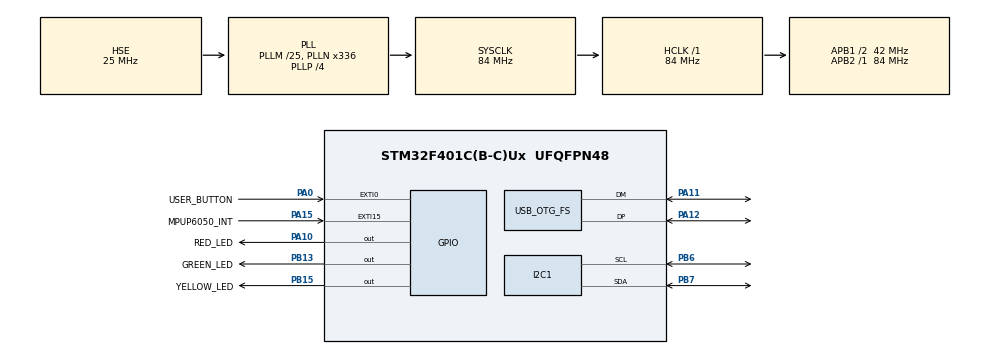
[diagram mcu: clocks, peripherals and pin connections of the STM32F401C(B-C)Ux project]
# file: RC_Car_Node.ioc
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I2C1.I2C_Mode=I2C_Fast
Mcu.Family=STM32F4
Mcu.Name=STM32F401C(B-C)Ux
Mcu.Package=UFQFPN48
NVIC.EXTI0_IRQn=true\:1\:0\:true\:false\:true\:true\:true\:true
NVIC.EXTI15_10_IRQn=true\:0\:0\:true\:false\:true\:true\:true\:true
NVIC.OTG_FS_IRQn=true\:0\:0\:true\:false\:true\:false\:true\:true
NVIC.PriorityGroup=NVIC_PRIORITYGROUP_4
PA0-WKUP.GPIO_Label=USER_BUTTON
PA0-WKUP.GPIO_PuPd=GPIO_PULLUP
PA0-WKUP.Signal=GPXTI0
PA10.GPIO_Label=RED_LED
PA10.Signal=GPIO_Output
PA11.Mode=Device_Only
PA11.Signal=USB_OTG_FS_DM
PA12.Mode=Device_Only
PA12.Signal=USB_OTG_FS_DP
PA13.Mode=Trace_Asynchronous_SW
PA13.Signal=SYS_JTMS-SWDIO
PA14.Mode=Trace_Asynchronous_SW
PA14.Signal=SYS_JTCK-SWCLK
PA15.GPIO_Label=MPUP6050_INT
PA15.Signal=GPXTI15
PB13.GPIO_Label=GREEN_LED
PB13.Signal=GPIO_Output
PB15.GPIO_Label=YELLOW_LED
PB15.PinState=GPIO_PIN_SET
PB15.Signal=GPIO_Output
PB3.Mode=Trace_Asynchronous_SW
PB3.Signal=SYS_JTDO-SWO
PB6.Mode=I2C
PB6.Signal=I2C1_SCL
PB7.Mode=I2C
PB7.Signal=I2C1_SDA
PH0\ -\ OSC_IN.Mode=HSE-External-Oscillator
PH0\ -\ OSC_IN.Signal=RCC_OSC_IN
PH1\ -\ OSC_OUT.Mode=HSE-External-Oscillator
PH1\ -\ OSC_OUT.Signal=RCC_OSC_OUT
ProjectManager.HeapSize=0x200
ProjectManager.StackSize=0x400
ProjectManager.TargetToolchain=STM32CubeIDE
RCC.48MHZClocksFreq_Value=48000000
RCC.AHBFreq_Value=84000000
RCC.APB1CLKDivider=RCC_HCLK_DIV2
RCC.APB1Freq_Value=42000000
RCC.APB1TimFreq_Value=84000000
RCC.APB2Freq_Value=84000000
RCC.APB2TimFreq_Value=84000000
RCC.CortexFreq_Value=84000000
RCC.HCLKFreq_Value=84000000
RCC.HSE_VALUE=25000000
RCC.HSI_VALUE=16000000
RCC.LSE_VALUE=32768
RCC.PLLM=25
RCC.PLLN=336
RCC.PLLP=RCC_PLLP_DIV4
RCC.PLLQ=7
RCC.SYSCLKFreq_VALUE=84000000
RCC.SYSCLKSource=RCC_SYSCLKSOURCE_PLLCLK
RCC.VCOOutputFreq_Value=336000000
STMicroelectronics.X-CUBE-ALGOBUILD.1.3.0.LibraryCcDSPOoLibraryJjDSPOoLibrary=true
STMicroelectronics.X-CUBE-ALGOBUILD.1.3.0.LibraryCcMotionOoLibrariesJjMotionOoLibraries=true
TIM2.Prescaler=83
USB_DEVICE.CLASS_NAME_FS=CDC
USB_DEVICE.VirtualMode=Cdc
USB_DEVICE.VirtualModeFS=Cdc_FS
USB_OTG_FS.VirtualMode=Device_Only
VP_CRC_VS_CRC.Mode=CRC_Activate
VP_STMicroelectronics.X-CUBE-ALGOBUILD_VS_DSPOoLibraryJjLibrary_1.3.0_1.3.0.Mode=DSPOoLibraryJjLibrary
VP_STMicroelectronics.X-CUBE-ALGOBUILD_VS_MotionOoLibrariesJjLibrary_1.3.0_1.3.0.Mode=MotionOoLibrariesJjLibrary
VP_TIM2_VS_ClockSourceINT.Mode=Internal
VP_USB_DEVICE_VS_USB_DEVICE_CDC_FS.Mode=CDC_FS
board=custom

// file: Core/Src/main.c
/* USER CODE BEGIN Header */
/**
  ******************************************************************************
  * @file           : main.c
  * @brief          : Main program body
  ******************************************************************************
  * @attention
  *
  * Copyright (c) 2023 STMicroelectronics.
  * All rights reserved.
  *
  * This software is licensed under terms that can be found in the LICENSE file
  * in the root directory of this software component.
  * If no LICENSE file comes with this software, it is provided AS-IS.
  *
  ******************************************************************************
  */
/* USER CODE END Header */
#include "main.h"
#include "usb_device.h"

/* USER CODE BEGIN Includes */
#include "usbd_cdc_if.h"
#include "eMPL_App.h"
#include "usb_com.h"
#include "GY271.h"
#include "motion_mc.h"
#include "motion_ec.h"
#include "BootloaderCntrl.h"
/* USER CODE END Includes */

/* USER CODE BEGIN PTD */
//#include "arm_math.h"

/* USER CODE END PTD */

/* USER CODE BEGIN PM */
extern USBD_CDC_ItfTypeDef USBD_Interface_fops_FS;
/* USER CODE END PM */

CRC_HandleTypeDef hcrc;

I2C_HandleTypeDef hi2c1;

TIM_HandleTypeDef htim2;

void SystemClock_Config(void);
static void MX_GPIO_Init(void);
static void MX_I2C1_Init(void);
static void MX_TIM2_Init(void);
static void MX_CRC_Init(void);

/* USER CODE BEGIN 0 */

MMC_Input_t data_in = {0};
MMC_Output_t data_out = {0};

MEC_input_t ec_data_in = {0};
MEC_output_t ec_data_out = {0};

bool new_data = false;

#define 	SAMPLE_FREQ  					 ((float)100.0f)
#define     SAMPLE_PERIOD					 ((float)0.01f)

static void setup_mag(){

	GY271_HandleType mag = {0};
	mag.I2Cx = &hi2c1;
	mag.mode = GY271_Mode_Single;
	mag.outputUnit = GY271_UNIT_MICRO_TESLA;
	mag.range = GY271_Range_5_6Ga;

	if(GY271_Init(&mag)){

    	HAL_GPIO_WritePin(YELLOW_LED_GPIO_Port, YELLOW_LED_Pin, RESET);
    	HAL_GPIO_WritePin(RED_LED_GPIO_Port, RED_LED_Pin, SET);

	  while (1)
	  {

	  }
	}
}
static void calibrate_mag(){

	MotionMC_Initialize(10, 1);
	data_in.TimeStamp = 0;
	unsigned long time_us = get_us();
	while(data_out.CalQuality != MMC_CALQSTATUSGOOD){

		GY271_getMag(data_in.Mag);
		MotionMC_Update(&data_in);

		data_in.TimeStamp += 10;

		MotionMC_GetCalParams(&data_out);

		while(get_us() - time_us < 10000) {}
		time_us = get_us();

	}

	MotionMC_Initialize(10, 0);

	HAL_GPIO_WritePin(YELLOW_LED_GPIO_Port, YELLOW_LED_Pin, RESET);
	HAL_GPIO_WritePin(GREEN_LED_GPIO_Port, GREEN_LED_Pin, SET);

}
static void calculate_mag_cal(float* Mag , float* Mag_cal){

	/* Apply calibration coefficients */
	 Mag_cal[0] = (int)((Mag[0] - data_out.HI_Bias[0]) * data_out.SF_Matrix[0][0]
	                  + (Mag[1] - data_out.HI_Bias[1]) * data_out.SF_Matrix[0][1]
	                  + (Mag[2] - data_out.HI_Bias[2]) * data_out.SF_Matrix[0][2]);

	 Mag_cal[1] = (int)((Mag[0] - data_out.HI_Bias[0]) * data_out.SF_Matrix[1][0]
					  + (Mag[1] - data_out.HI_Bias[1]) * data_out.SF_Matrix[1][1]
	                  + (Mag[2] - data_out.HI_Bias[2]) * data_out.SF_Matrix[1][2]);

	Mag_cal[2] = (int)((Mag[0] - data_out.HI_Bias[0]) * data_out.SF_Matrix[2][0]
	                 + (Mag[1] - data_out.HI_Bias[1]) * data_out.SF_Matrix[2][1]
					 + (Mag[2] - data_out.HI_Bias[2]) * data_out.SF_Matrix[2][2]);

}
static void setup_accel(){

	struct int_param_s int_param;
	if(mpu_init(&int_param))
	{
		HAL_GPIO_WritePin(YELLOW_LED_GPIO_Port, YELLOW_LED_Pin, RESET);
		HAL_GPIO_WritePin(RED_LED_GPIO_Port, RED_LED_Pin, SET);
		while(1);
	}

	mpu_set_sensors(INV_XYZ_ACCEL   | INV_XYZ_GYRO);
	mpu_set_int_enable(1);
	mpu_set_sample_rate(SAMPLE_FREQ);

}
static void ECompass_proccess(){

	unsigned long  timestamp;
	short accel[3] ;
	unsigned short accel_sens;

	  float mag[3];
	  float mag_cal[3];
	  float freq = SAMPLE_FREQ;

	MotionEC_Initialize(&freq);

	MotionEC_SetGravityEnable(MEC_DISABLE);
	MotionEC_SetLinearAccEnable(MEC_DISABLE);
	MotionEC_SetVirtualGyroEnable(MEC_DISABLE);
	MotionEC_SetOrientationEnable(MEC_ENABLE);

	mpu_get_accel_sens(&accel_sens);

	while(1){

		if(new_data){
			new_data = false;

			mpu_get_accel_reg(accel, &timestamp);
			GY271_getMag(mag);
			calculate_mag_cal(mag, mag_cal);

			ec_data_in.acc[0] =  (float)accel[0] / (float) accel_sens;
			ec_data_in.acc[1] = -(float)accel[1] / (float) accel_sens;
			ec_data_in.acc[2] =  (float)accel[2] / (float) accel_sens;

			ec_data_in.mag[0] =  mag_cal[1] / 50.0f;
			ec_data_in.mag[1] =  mag_cal[0] / 50.0f;
			ec_data_in.mag[2] =  mag_cal[2] / 50.0f;

			ec_data_in.deltatime_s = SAMPLE_PERIOD;

			MotionEC_Run(&ec_data_in, &ec_data_out);

			printf("%.3f\r\n",ec_data_out.euler[0]);

		}
	}
}
int MotionMC_SaveCalInNVM(unsigned char* data, unsigned long len){
	return 1;
}
int MotionMC_LoadCalFromNVM(unsigned char* data, unsigned long len){
	return 1;
}

void HAL_GPIO_EXTI_Callback(uint16_t GPIO_Pin)
{

	if (GPIO_Pin == MPUP6050_INT_Pin){

		new_data = true;

	}

	if(GPIO_Pin == USER_BUTTON_Pin){
//		User Request to go to bootloader
		jumpToBootloader();
	}
}

/* USER CODE END 0 */

int main(void)
{

  /* MCU Configuration--------------------------------------------------------*/

  /* Reset of all peripherals, Initializes the Flash interface and the Systick. */
  HAL_Init();

  /* Configure the system clock */
  SystemClock_Config();

  /* Initialize all configured peripherals */
  MX_GPIO_Init();
  MX_I2C1_Init();
  MX_USB_DEVICE_Init();
  MX_TIM2_Init();
  MX_CRC_Init();
  /* USER CODE BEGIN 2 */
  HAL_TIM_Base_Start(&htim2);

  setup_mag();
  calibrate_mag();
  setup_accel();
  ECompass_proccess();

  /* USER CODE END 2 */

  /* Infinite loop */
  while (1)
  {
  }
}

void SystemClock_Config(void)
{
  RCC_OscInitTypeDef RCC_OscInitStruct = {0};
  RCC_ClkInitTypeDef RCC_ClkInitStruct = {0};

  /** Configure the main internal regulator output voltage
  */
  __HAL_RCC_PWR_CLK_ENABLE();
  __HAL_PWR_VOLTAGESCALING_CONFIG(PWR_REGULATOR_VOLTAGE_SCALE2);

  /** Initializes the RCC Oscillators according to the specified parameters
  * in the RCC_OscInitTypeDef structure.
  */
  RCC_OscInitStruct.OscillatorType = RCC_OSCILLATORTYPE_HSE;
  RCC_OscInitStruct.HSEState = RCC_HSE_ON;
  RCC_OscInitStruct.PLL.PLLState = RCC_PLL_ON;
  RCC_OscInitStruct.PLL.PLLSource = RCC_PLLSOURCE_HSE;
  RCC_OscInitStruct.PLL.PLLM = 25;
  RCC_OscInitStruct.PLL.PLLN = 336;
  RCC_OscInitStruct.PLL.PLLP = RCC_PLLP_DIV4;
  RCC_OscInitStruct.PLL.PLLQ = 7;
  if (HAL_RCC_OscConfig(&RCC_OscInitStruct) != HAL_OK)
  {
    Error_Handler();
  }

  /** Initializes the CPU, AHB and APB buses clocks
  */
  RCC_ClkInitStruct.ClockType = RCC_CLOCKTYPE_HCLK|RCC_CLOCKTYPE_SYSCLK
                              |RCC_CLOCKTYPE_PCLK1|RCC_CLOCKTYPE_PCLK2;
  RCC_ClkInitStruct.SYSCLKSource = RCC_SYSCLKSOURCE_PLLCLK;
  RCC_ClkInitStruct.AHBCLKDivider = RCC_SYSCLK_DIV1;
  RCC_ClkInitStruct.APB1CLKDivider = RCC_HCLK_DIV2;
  RCC_ClkInitStruct.APB2CLKDivider = RCC_HCLK_DIV1;

  if (HAL_RCC_ClockConfig(&RCC_ClkInitStruct, FLASH_LATENCY_2) != HAL_OK)
  {
    Error_Handler();
  }
}

static void MX_CRC_Init(void)
{

  hcrc.Instance = CRC;
  if (HAL_CRC_Init(&hcrc) != HAL_OK)
  {
    Error_Handler();
  }

}

static void MX_I2C1_Init(void)
{

  hi2c1.Instance = I2C1;
  hi2c1.Init.ClockSpeed = 400000;
  hi2c1.Init.DutyCycle = I2C_DUTYCYCLE_2;
  hi2c1.Init.OwnAddress1 = 0;
  hi2c1.Init.AddressingMode = I2C_ADDRESSINGMODE_7BIT;
  hi2c1.Init.DualAddressMode = I2C_DUALADDRESS_DISABLE;
  hi2c1.Init.OwnAddress2 = 0;
  hi2c1.Init.GeneralCallMode = I2C_GENERALCALL_DISABLE;
  hi2c1.Init.NoStretchMode = I2C_NOSTRETCH_DISABLE;
  if (HAL_I2C_Init(&hi2c1) != HAL_OK)
  {
    Error_Handler();
  }

}

static void MX_TIM2_Init(void)
{

  TIM_ClockConfigTypeDef sClockSourceConfig = {0};
  TIM_MasterConfigTypeDef sMasterConfig = {0};

  htim2.Instance = TIM2;
  htim2.Init.Prescaler = 83;
  htim2.Init.CounterMode = TIM_COUNTERMODE_UP;
  htim2.Init.Period = 4294967295;
  htim2.Init.ClockDivision = TIM_CLOCKDIVISION_DIV1;
  htim2.Init.AutoReloadPreload = TIM_AUTORELOAD_PRELOAD_DISABLE;
  if (HAL_TIM_Base_Init(&htim2) != HAL_OK)
  {
    Error_Handler();
  }
  sClockSourceConfig.ClockSource = TIM_CLOCKSOURCE_INTERNAL;
  if (HAL_TIM_ConfigClockSource(&htim2, &sClockSourceConfig) != HAL_OK)
  {
    Error_Handler();
  }
  sMasterConfig.MasterOutputTrigger = TIM_TRGO_RESET;
  sMasterConfig.MasterSlaveMode = TIM_MASTERSLAVEMODE_DISABLE;
  if (HAL_TIMEx_MasterConfigSynchronization(&htim2, &sMasterConfig) != HAL_OK)
  {
    Error_Handler();
  }

}

static void MX_GPIO_Init(void)
{
  GPIO_InitTypeDef GPIO_InitStruct = {0};

  /* GPIO Ports Clock Enable */
  __HAL_RCC_GPIOH_CLK_ENABLE();
  __HAL_RCC_GPIOA_CLK_ENABLE();
  __HAL_RCC_GPIOB_CLK_ENABLE();

  /*Configure GPIO pin Output Level */
  HAL_GPIO_WritePin(GREEN_LED_GPIO_Port, GREEN_LED_Pin, GPIO_PIN_RESET);

  /*Configure GPIO pin Output Level */
  HAL_GPIO_WritePin(YELLOW_LED_GPIO_Port, YELLOW_LED_Pin, GPIO_PIN_SET);

  /*Configure GPIO pin Output Level */
  HAL_GPIO_WritePin(RED_LED_GPIO_Port, RED_LED_Pin, GPIO_PIN_RESET);

  /*Configure GPIO pin : USER_BUTTON_Pin */
  GPIO_InitStruct.Pin = USER_BUTTON_Pin;
  GPIO_InitStruct.Mode = GPIO_MODE_IT_RISING;
  GPIO_InitStruct.Pull = GPIO_PULLUP;
  HAL_GPIO_Init(USER_BUTTON_GPIO_Port, &GPIO_InitStruct);

  /*Configure GPIO pins : GREEN_LED_Pin YELLOW_LED_Pin */
  GPIO_InitStruct.Pin = GREEN_LED_Pin|YELLOW_LED_Pin;
  GPIO_InitStruct.Mode = GPIO_MODE_OUTPUT_PP;
  GPIO_InitStruct.Pull = GPIO_NOPULL;
  GPIO_InitStruct.Speed = GPIO_SPEED_FREQ_LOW;
  HAL_GPIO_Init(GPIOB, &GPIO_InitStruct);

  /*Configure GPIO pin : RED_LED_Pin */
  GPIO_InitStruct.Pin = RED_LED_Pin;
  GPIO_InitStruct.Mode = GPIO_MODE_OUTPUT_PP;
  GPIO_InitStruct.Pull = GPIO_NOPULL;
  GPIO_InitStruct.Speed = GPIO_SPEED_FREQ_LOW;
  HAL_GPIO_Init(RED_LED_GPIO_Port, &GPIO_InitStruct);

  /*Configure GPIO pin : MPUP6050_INT_Pin */
  GPIO_InitStruct.Pin = MPUP6050_INT_Pin;
  GPIO_InitStruct.Mode = GPIO_MODE_IT_RISING;
  GPIO_InitStruct.Pull = GPIO_NOPULL;
  HAL_GPIO_Init(MPUP6050_INT_GPIO_Port, &GPIO_InitStruct);

  /* EXTI interrupt init*/
  HAL_NVIC_SetPriority(EXTI0_IRQn, 1, 0);
  HAL_NVIC_EnableIRQ(EXTI0_IRQn);

  HAL_NVIC_SetPriority(EXTI15_10_IRQn, 0, 0);
  HAL_NVIC_EnableIRQ(EXTI15_10_IRQn);

}

/* USER CODE BEGIN 4 */

int _write(int file, char *ptr, int len)
{
  (void)file;
  CDC_Transmit_FS( (uint8_t*) ptr, len);
  return len;
}

/* USER CODE END 4 */

void Error_Handler(void)
{
  __disable_irq();
  while (1)
  {
  }
}
